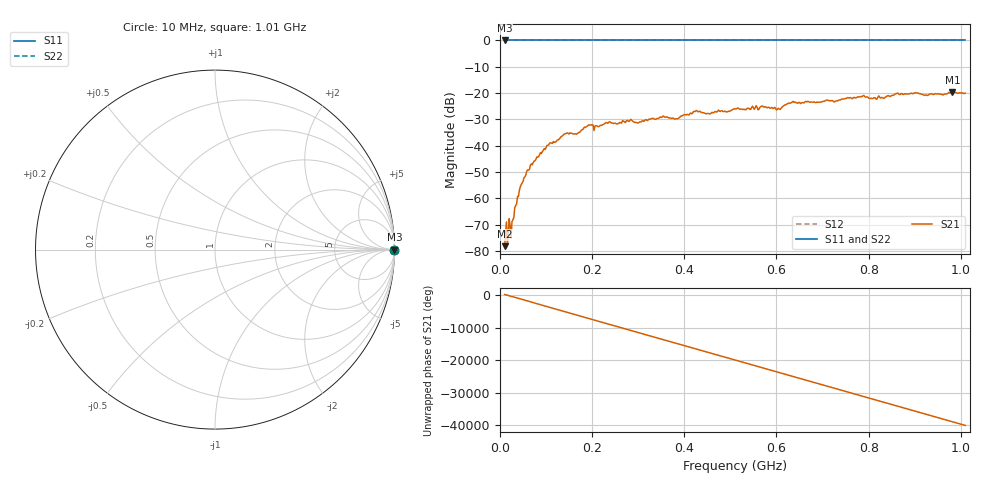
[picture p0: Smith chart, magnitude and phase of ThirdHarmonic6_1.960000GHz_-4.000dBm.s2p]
! 8/16/2025 11:35:17 PM
! C:\ANRITSUVNA\TEMP\TEMP.S2P
! CHANNEL.1
! TR.MEASUREMENT
! RAW.DATA
! RF.CORRECTION.OFF
! AVERAGING.OFF
! IF.BANDWIDTH: 5KHZ
! SWEEPTYPE:  FREQ.SWEEP(Linear)
! Reference Plane Port Info
! PORT:  PORT1  PORT2
! DISTANCE:  0  m  0  m
! TIME:  0  s  0  s
! PHASE.OFFSET:  0  deg.  0  deg.
! LOSS:  0  dB  0  dB
! REF.LOSS:  0  dB  0  dB
! REF.FREQ:  0  Hz  0  Hz
! Power Info
! POWER:  -20  dBm  -20  dBm
! EFF.POWER:  -20  dBm  -20  dBm
! SOURCE.ATTEN:  0  dB  0  dB
! TEST.ATTEN:  0  dB  0  dB
# GHZ S RI R 50.0
! FREQ.GHZ  S11RE  S11IM  S21RE  S21IM  S12RE  S12IM  S22RE  S22IM
!; PortSelection: Port_12
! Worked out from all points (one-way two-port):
!   501 points, 10 MHz to 1.01 GHz, reference 50 ohm
!   highest |S21| = -19.63 dB at 982 MHz (marker M1); lowest = -78.2 dB at 10 MHz (marker M2)
!   lowest |S11| = 0.0 dB at 10 MHz (marker M3)
!   |S11| at or under -10 dB: nowhere
!   |S22| runs from 0.0 to 0.0 dB; largest |S21 - S12| = 1.1
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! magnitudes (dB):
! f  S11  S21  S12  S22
! 10 MHz  0.0  -78.2  0.0  0.0
! 16 MHz  0.0  -77.8  0.0  0.0
! 20 MHz  0.0  -67.7  0.0  0.0
! 26 MHz  0.0  -68.9  0.0  0.0
! 36 MHz  0.0  -62.1  0.0  0.0
! 48 MHz  0.0  -54.2  0.0  0.0
! 70 MHz  0.0  -47.3  0.0  0.0
! 106 MHz  0.0  -39.6  0.0  0.0
! 142 MHz  0.0  -35.5  0.0  0.0
! 178 MHz  0.0  -33.9  0.0  0.0
! 196 MHz  0.0  -32.1  0.0  0.0
! 344 MHz  0.0  -29.7  0.0  0.0
! 382 MHz  0.0  -29.7  0.0  0.0
! 424 MHz  0.0  -27.0  0.0  0.0
! 452 MHz  0.0  -27.7  0.0  0.0
! 510 MHz  0.0  -26.0  0.0  0.0
! 604 MHz  0.0  -25.8  0.0  0.0
! 636 MHz  0.0  -23.1  0.0  0.0
! 678 MHz  0.0  -23.5  0.0  0.0
! 844 MHz  0.0  -21.1  0.0  0.0
! 982 MHz  0.0  -19.6  0.0  0.0
! 1.01 GHz  0.0  -20.1  0.0  0.0
